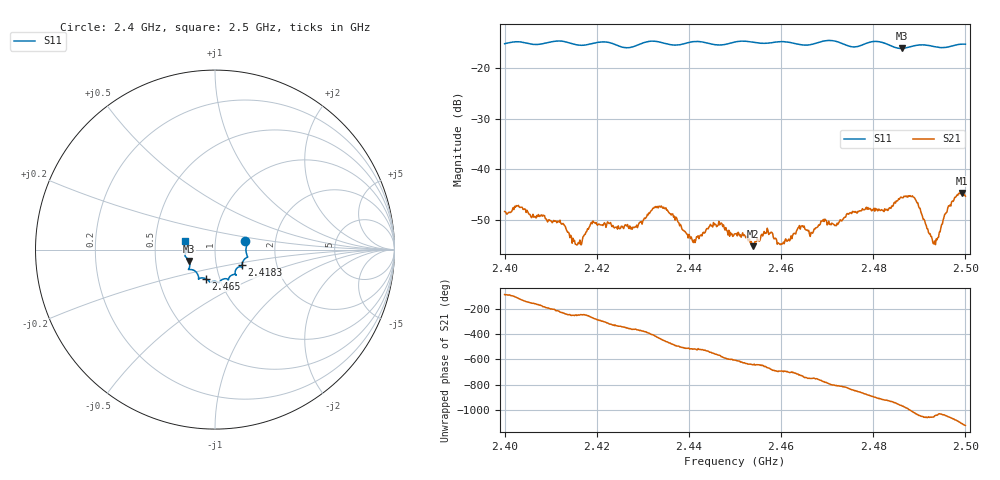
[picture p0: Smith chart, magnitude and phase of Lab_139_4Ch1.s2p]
# Hz S RI R 50
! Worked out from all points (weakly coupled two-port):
!   601 points, 2.4 GHz to 2.5 GHz, reference 50 ohm
!   highest |S21| = -44.69 dB at 2.4993 GHz (marker M1); lowest = -55.2 dB at 2.4538 GHz (marker M2)
!   lowest |S11| = -16.1 dB at 2.4862 GHz (marker M3), VSWR 1.37, Z = 37.1 - j4.8 ohm
!   |S11| at or under -10 dB: start of sweep to end of sweep
!   S12 and S22 are empty: the file has one direction only
!   S11 on the Smith chart (normalised r, x): 2.4 GHz: 1.40, +0.13; 2.4183 GHz: 1.33, -0.24; 2.465 GHz: 0.86, -0.29; 2.5 GHz: 0.71, +0.07
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2.4e9  0.1693 0.046  0.000251 -0.0038  0 0  0 0
2.403333e9  0.1803 0.0315  -0.00222 -0.00354  0 0  0 0
2.416667e9  0.1548 -0.0682  -0.000717 0.00164  0 0  0 0
2.418333e9  0.1497 -0.0871  -0.000519 0.00261  0 0  0 0
2.427833e9  0.1138 -0.1173  0.00267 -6.34e-05  0 0  0 0
2.433333e9  0.1172 -0.1409  0.00153 -0.00384  0 0  0 0
2.440833e9  0.0756 -0.1676  -0.0018 -0.000642  0 0  0 0
2.446667e9  0.0468 -0.1638  -0.00244 0.00141  0 0  0 0
2.45e9  0.0252 -0.1808  -0.000928 0.0021  0 0  0 0
2.453833e9  0.0157 -0.1813  0.000375 0.00169  0 0  0 0
2.456667e9  -0.00671 -0.177  0.00108 0.00209  0 0  0 0
2.460167e9  -0.0281 -0.1818  0.00161 0.000827  0 0  0 0
2.465e9  -0.0525 -0.1618  0.00254 -0.00103  0 0  0 0
2.466667e9  -0.0713 -0.1574  0.00201 -0.00121  0 0  0 0
2.469167e9  -0.0903 -0.163  0.00171 -0.00268  0 0  0 0
2.483333e9  -0.1416 -0.0965  -0.00354 0.00192  0 0  0 0
2.486167e9  -0.1442 -0.0631  -0.00203 0.00484  0 0  0 0
2.489167e9  -0.1636 -0.0402  0.0033 0.00377  0 0  0 0
2.493333e9  -0.163 -0.0169  0.00166 0.00102  0 0  0 0
2.496667e9  -0.163 0.0241  0.00419 0.00145  0 0  0 0
2.499333e9  -0.1681 0.0442  0.00498 -0.00302  0 0  0 0
2.5e9  -0.1671 0.0471  0.00384 -0.00382  0 0  0 0
